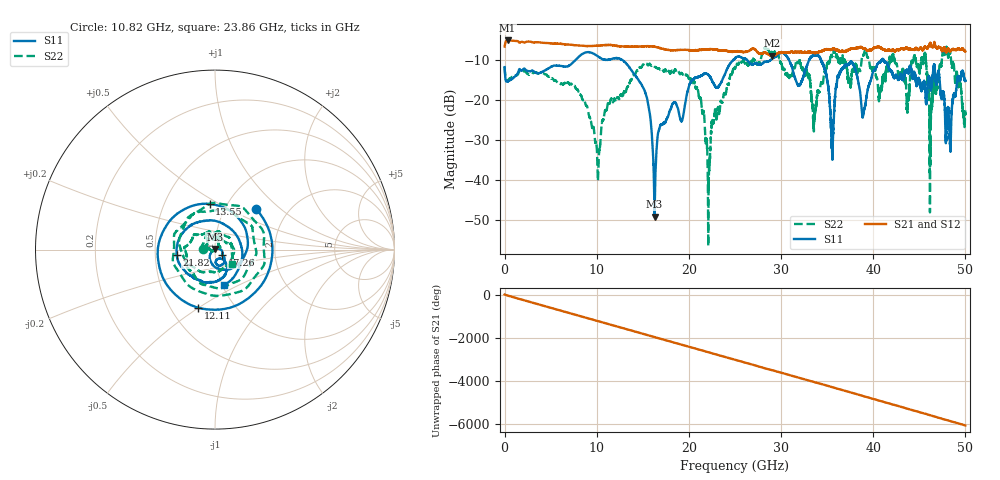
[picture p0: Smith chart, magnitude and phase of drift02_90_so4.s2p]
!Created with skrf (http://scikit-rf.org).
# Hz S RI R 50.0
!freq ReS11 ImS11 ReS21 ImS21 ReS12 ImS12 ReS22 ImS22
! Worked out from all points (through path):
!   10001 points, 300 kHz to 50 GHz, reference 50 ohm
!   highest |S21| = -5.04 dB at 325.3 MHz (marker M1); lowest = -8.9 dB at 29.05 GHz (marker M2)
!   group delay of S21, straight-line fit = 336 ps
!   lowest |S11| = -49.3 dB at 16.27 GHz (marker M3), VSWR 1.01, Z = 49.8 + j0.302 ohm
!   |S11| at or under -10 dB: start of sweep to 7.668 GHz; 12.82 GHz to 24.79 GHz (11.97 GHz wide, 63.7 % of centre); 41.13 GHz to end of sweep (the widest 3 of 11)
!   |S22| runs from -56.7 to -6.6 dB; largest |S21 - S12| = 0.029
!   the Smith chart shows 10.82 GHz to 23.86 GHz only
!   S11 on the Smith chart (normalised r, x): 10.82 GHz: 1.39, +0.70; 12.11 GHz: 0.68, -0.50; 13.55 GHz: 0.83, +0.45; 17.26 GHz: 1.08, -0.07; 21.82 GHz: 0.65, -0.04; 23.86 GHz: 1.01, -0.42
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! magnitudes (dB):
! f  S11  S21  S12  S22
! 300 kHz  -11.7  -6.5  -6.5  -11.6
! 325.3 MHz  -15.3  -5.0  -5.0  -15.1
! 8.335 GHz  -8.6  -6.4  -6.4  -19.0
! 10.11 GHz  -9.0  -6.3  -6.3  -39.1
! 10.82 GHz  -9.9  -6.2  -6.2  -23.6
! 12.11 GHz  -9.5  -6.4  -6.4  -20.4
! 13.55 GHz  -11.9  -6.6  -6.6  -15.8
! 16.27 GHz  -49.3  -6.6  -6.6  -11.6
! 16.67 GHz  -28.1  -6.8  -6.8  -12.1
! 17.26 GHz  -25.7  -7.2  -7.2  -12.8
! 21.82 GHz  -13.3  -7.3  -7.3  -30.5
! 23.86 GHz  -13.7  -7.6  -7.5  -18.3
! 25 GHz  -9.5  -7.8  -7.8  -12.0
! 29.05 GHz  -9.6  -8.9  -8.8  -8.1
! 33.34 GHz  -9.0  -8.0  -8.0  -20.0
! 35.55 GHz  -32.4  -7.2  -7.2  -9.0
! 36.78 GHz  -11.9  -7.9  -7.9  -9.7
! 41.67 GHz  -11.8  -7.4  -7.5  -11.9
! 45.49 GHz  -15.5  -7.1  -7.0  -9.7
! 46.27 GHz  -17.0  -6.2  -6.2  -22.7
! 48.12 GHz  -21.9  -7.1  -7.1  -9.0
! 50 GHz  -15.2  -7.8  -7.8  -22.7
